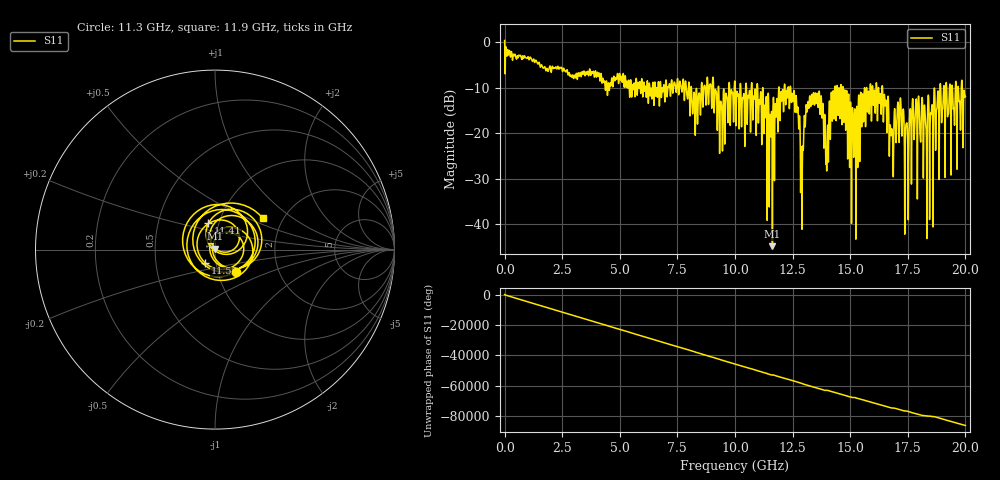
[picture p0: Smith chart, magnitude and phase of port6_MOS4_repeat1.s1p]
! MS46122B
! 2250307/22442219
! 7/23/2025 1:21:36 PM
! C:\USERS\SPARKY\DOCUMENTS\VNA_DATA\JULY23_2025\295K\PORT6_MOS4_REPEAT1.S1P
! CHANNEL.1
! TR.MEASUREMENT
! RAW.DATA
# GHZ S RI R 50.0
! FREQ.GHZ  S11RE  S11IM
!; PortSelection: Port_1
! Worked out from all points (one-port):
!   10001 points, 1 MHz to 20 GHz, reference 50 ohm
!   lowest |S11| = -44.9 dB at 11.62 GHz (marker M1), VSWR 1.01, Z = 50.3 + j0.509 ohm
!   |S11| at or under -10 dB: 12.41 GHz to 14.34 GHz (1.923 GHz wide, 14.4 % of centre); 14.69 GHz to 15.62 GHz (932.5 MHz wide, 6.15 % of centre); 16.4 GHz to 18.9 GHz (2.492 GHz wide, 14.1 % of centre) (the widest 3 of 69)
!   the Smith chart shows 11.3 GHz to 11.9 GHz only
!   S11 on the Smith chart (normalised r, x): 11.3 GHz: 1.23, -0.31; 11.41 GHz: 0.89, +0.27; 11.55 GHz: 0.89, -0.14; 11.9 GHz: 1.58, +0.61
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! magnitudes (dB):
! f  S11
! 1 MHz  0.4
! 2.501 GHz  -6.2
! 5.001 GHz  -6.9
! 7.501 GHz  -8.0
! 8.977 GHz  -12.4
! 9.397 GHz  -13.3
! 10 GHz  -8.8
! 11.3 GHz  -15.4
! 11.41 GHz  -16.4
! 11.55 GHz  -20.7
! 11.62 GHz  -44.9
! 11.9 GHz  -9.9
! 12.5 GHz  -11.8
! 12.9 GHz  -28.8
! 13.33 GHz  -11.5
! 13.73 GHz  -11.9
! 13.96 GHz  -25.1
! 14.35 GHz  -9.6
! 15 GHz  -14.7
! 16.05 GHz  -10.7
! 16.57 GHz  -13.9
! 16.79 GHz  -19.9
! 17.12 GHz  -22.0
! 17.5 GHz  -23.0
! 17.79 GHz  -20.0
! 18.25 GHz  -16.2
! 18.99 GHz  -15.6
! 20 GHz  -11.9
